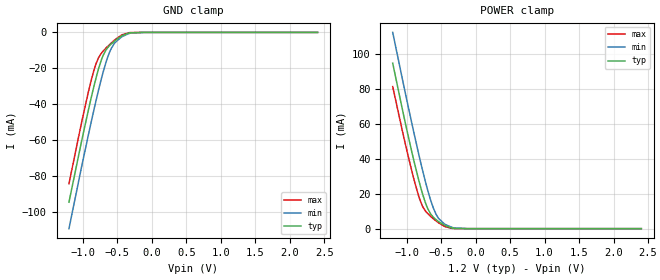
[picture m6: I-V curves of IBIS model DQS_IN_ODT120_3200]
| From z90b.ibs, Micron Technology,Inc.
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| MODEL DQS_IN_ODT120_3200 (Data Strobe Input with 120ohm ODT, 2933/3200Mbps)
[Model]   DQS_IN_ODT120_3200
Model_type   Input
Vinl = 860.000mV
Vinh = 1060.000mV
|   typ   min   max
|C_comp   1.028pF   0.972pF   1.087pF
C_comp_power_clamp   0.5140pF   0.4860pF   0.5435pF
C_comp_gnd_clamp   0.5140pF   0.4860pF   0.5435pF
| Note: C_comp changes when the ODT circuit is enabled.
|[Model Spec]
| Dynamic Overshoot Parameters from DDR4 Specification
|D_overshoot_ampl_h   0.40   NA   NA
|D_overshoot_ampl_l   0.40   NA   NA
|D_overshoot_area_h   0.0600n   NA   NA
|D_overshoot_area_l   0.0600n   NA   NA
[Voltage Range]   1.2000V   1.1400V   1.2600V
| Junction Temperature (Ambient temp is 35C typ, 95C min, 0C max)
[Temperature Range]   50.0   110.0   0.0
[Add Submodel]
| Submodel Name   Mode
120ohm_ODT_3200   Non-Driving
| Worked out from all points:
|   GND clamp passes 1 mA (typ) near -0.38 V on its own axis
|   POWER clamp passes 1 mA (typ) near -0.39 V on its own axis
[GND Clamp]
|   Voltage   I(typ)   I(min)   I(max)
-1.2V     -94.51mA   -109.2mA   -84.24mA
-1.036V   -64.1mA    -78.41mA   -53.66mA
-917.8mV  -43.12mA   -56.91mA   -33.02mA
-805.6mV  -25.07mA   -37.64mA   -17.24mA
-714mV    -13.7mA    -23.42mA   -10.84mA
-666.5mV  -10.01mA   -17.04mA   -8.855mA
-612mV    -7.375mA   -11.07mA   -6.793mA
-545.6mV  -5.017mA   -6.322mA   -4.491mA
-442.7mV  -2.105mA   -2.672mA   -1.609mA
-307.4mV  -214.1uA   -422uA     -99.1uA
-118.9mV  -745.9nA   -5.845uA   0A
2.402V    0A         0A         0A
[POWER Clamp]
|   Voltage   I(typ)   I(min)   I(max)
-1.2V     94.96mA    112.6mA    81.53mA
-1.053V   67.09mA    84.47mA    54.76mA
-919mV    43.33mA    59.74mA    32.42mA
-828.3mV  28.67mA    43.69mA    19.29mA
-793mV    23.47mA    37.71mA    15.21mA
-703.6mV  12.56mA    23.62mA    9.084mA
-610.6mV  6.555mA    11.8mA     5.673mA
-536.5mV  4.084mA    5.917mA    3.382mA
-452.8mV  1.964mA    2.761mA    1.364mA
-309.7mV  181.9uA    432.1uA    63.73uA
-118.9mV  410.4nA    5.836uA    0A
2.402V    0A         0A         0A
